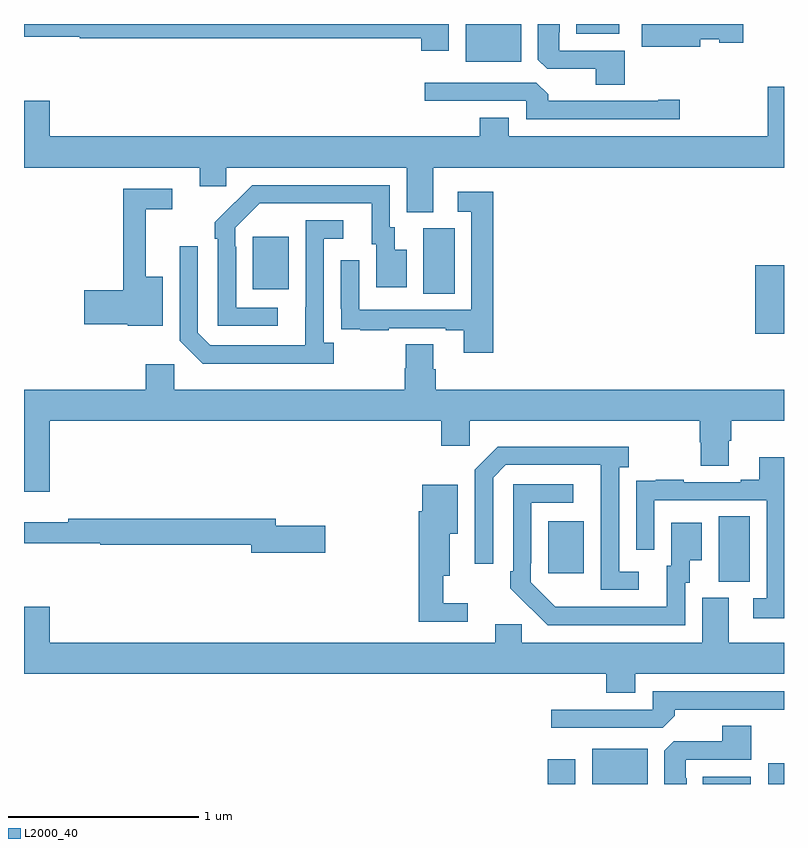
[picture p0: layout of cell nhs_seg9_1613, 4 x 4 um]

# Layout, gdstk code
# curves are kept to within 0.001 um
import gdstk
lib = gdstk.Library(unit=1e-6, precision=1e-09)
def R(c, l, rs):  # rectangles x0, y0, x1, y1
    for r in rs: c.add(gdstk.rectangle(r[:2], r[2:], *l))
def P(c, l, *ps):  # polygons
    for p in ps: c.add(gdstk.Polygon(p, *l))
L2000_40 = (2000, 40)

nhs_seg9_1613 = lib.new_cell('nhs_seg9_1613')
R(nhs_seg9_1613, L2000_40, [(203.756,1202.5,203.902,1202.629), (203.99,1202.5,204.283,1202.686), (204.572,1202.5,204.826,1202.539), (204.918,1202.5,205,1202.608), (204.656,1203.565,204.82,1203.908), (203.759,1203.609,203.947,1203.883), (204.848,1204.87,205,1205.23), (203.102,1205.08,203.266,1205.424), (202.205,1205.105,202.393,1205.38), (203.324,1206.302,203.617,1206.5), (203.906,1206.449,204.133,1206.5)])
P(nhs_seg9_1613, L2000_40, [(204.161,1206.36),(203.817,1206.36),(203.817,1206.457),(203.821,1206.457),(203.821,1206.5),(203.705,1206.5),(203.705,1206.313),(203.754,1206.264),(204.008,1206.264),(204.008,1206.181),(204.161,1206.181)],
  [(204.559,1206.419),(204.66,1206.419),(204.66,1206.401),(204.786,1206.401),(204.786,1206.5),(204.252,1206.5),(204.252,1206.38),(204.559,1206.38)],
  [(203.236,1206.5),(201,1206.5),(201,1206.432),(201.293,1206.432),(201.293,1206.424),(203.09,1206.424),(203.09,1206.36),(203.236,1206.36)],
  [(204.451,1206.101),(204.338,1206.101),(204.338,1206.096),(203.759,1206.096),(203.759,1206.13),(203.697,1206.192),(203.109,1206.192),(203.109,1206.096),(203.643,1206.096),(203.643,1206),(204.451,1206)],
  [(203.155,1205.744),(205,1205.744),(205,1206.169),(204.915,1206.169),(204.915,1205.908),(203.551,1205.908),(203.551,1206.007),(203.399,1206.007),(203.399,1205.908),(201.136,1205.908),(201.136,1206.097),(201,1206.097),(201,1205.744),(201.926,1205.744),(201.926,1205.646),(202.065,1205.646),(202.065,1205.744),(203.015,1205.744),(203.015,1205.509),(203.155,1205.509)],
  [(202.336,1205.007),(202.116,1205.007),(202.116,1205.327),(202.113,1205.327),(202.113,1205.427),(202.242,1205.556),(202.829,1205.556),(202.829,1205.34),(202.853,1205.34),(202.853,1205.115),(203.014,1205.115),(203.014,1205.311),(202.951,1205.311),(202.951,1205.43),(202.926,1205.43),(202.926,1205.652),(202.202,1205.652),(202.005,1205.457),(202.005,1205.369),(202.02,1205.369),(202.02,1204.911),(202.336,1204.911)],
  [(201.73,1205.17),(201.641,1205.17),(201.641,1205.526),(201.781,1205.526),(201.781,1205.634),(201.523,1205.634),(201.523,1205.099),(201.318,1205.099),(201.318,1204.921),(201.546,1204.921),(201.546,1204.913),(201.73,1204.913)],
  [(203.471,1205.617),(203.283,1205.617),(203.283,1205.511),(203.355,1205.511),(203.355,1204.995),(202.764,1204.995),(202.764,1205.257),(202.668,1205.257),(202.668,1205.002),(202.669,1205.002),(202.669,1204.893),(202.771,1204.893),(202.771,1204.887),(202.919,1204.887),(202.919,1204.899),(203.219,1204.899),(203.219,1204.887),(203.315,1204.887),(203.315,1204.77),(203.471,1204.77)],
  [(202.63,1204.822),(202.578,1204.822),(202.578,1205.37),(202.681,1205.37),(202.681,1205.466),(202.482,1205.466),(202.481,1204.809),(201.981,1204.809),(201.915,1204.875),(201.915,1205.329),(201.819,1205.329),(201.819,1204.833),(201.94,1204.712),(202.63,1204.712)],
  [(201.136,1204.412),(203.195,1204.412),(203.195,1204.281),(203.346,1204.281),(203.346,1204.412),(204.557,1204.412),(204.557,1204.299),(204.562,1204.299),(204.562,1204.174),(204.709,1204.174),(204.709,1204.306),(204.722,1204.306),(204.722,1204.412),(205,1204.412),(205,1204.576),(203.168,1204.576),(203.168,1204.682),(203.155,1204.682),(203.155,1204.814),(203.008,1204.814),(203.008,1204.689),(203.003,1204.689),(203.003,1204.576),(201.792,1204.576),(201.792,1204.708),(201.641,1204.708),(201.641,1204.576),(201,1204.576),(201,1204.038),(201.136,1204.038)],
  [(204.235,1203.618),(204.132,1203.618),(204.132,1204.166),(204.184,1204.166),(204.184,1204.276),(203.494,1204.276),(203.373,1204.155),(203.373,1203.66),(203.469,1203.66),(203.469,1204.113),(203.535,1204.179),(204.035,1204.179),(204.036,1203.522),(204.235,1203.522)],
  [(205,1204.219),(204.869,1204.219),(204.869,1204.102),(204.773,1204.102),(204.773,1204.089),(204.473,1204.089),(204.473,1204.102),(204.325,1204.102),(204.325,1204.095),(204.223,1204.095),(204.223,1203.986),(204.222,1203.986),(204.222,1203.732),(204.318,1203.732),(204.318,1203.993),(204.909,1203.993),(204.909,1203.477),(204.837,1203.477),(204.837,1203.372),(205,1203.372)],
  [(204.48,1203.558),(204.505,1203.558),(204.505,1203.677),(204.568,1203.677),(204.568,1203.874),(204.407,1203.874),(204.407,1203.648),(204.383,1203.648),(204.383,1203.432),(203.796,1203.433),(203.667,1203.561),(203.667,1203.661),(203.67,1203.661),(203.67,1203.981),(203.89,1203.981),(203.89,1204.077),(203.574,1204.077),(203.574,1203.619),(203.559,1203.619),(203.559,1203.531),(203.756,1203.336),(204.48,1203.336)],
  [(203.335,1203.451),(203.206,1203.451),(203.206,1203.596),(203.242,1203.596),(203.242,1203.818),(203.284,1203.818),(203.284,1204.075),(203.096,1204.075),(203.096,1203.936),(203.077,1203.936),(203.077,1203.354),(203.335,1203.354)],
  [(202.585,1203.86),(202.324,1203.86),(202.324,1203.896),(201.232,1203.896),(201.232,1203.877),(201,1203.877),(201,1203.768),(201.4,1203.768),(201.4,1203.76),(202.196,1203.76),(202.196,1203.718),(202.585,1203.718)],
  [(204.217,1203.08),(205,1203.08),(205,1203.244),(204.709,1203.244),(204.709,1203.48),(204.569,1203.48),(204.569,1203.244),(203.619,1203.244),(203.619,1203.342),(203.48,1203.342),(203.48,1203.244),(201.136,1203.244),(201.136,1203.433),(201,1203.433),(201,1203.08),(204.065,1203.08),(204.065,1202.981),(204.217,1202.981)],
  [(204.425,1202.858),(204.425,1202.892),(205,1202.892),(205,1202.988),(204.309,1202.988),(204.309,1202.892),(203.775,1202.892),(203.775,1202.796),(204.363,1202.796)],
  [(204.487,1202.531),(204.483,1202.531),(204.483,1202.628),(204.827,1202.628),(204.827,1202.807),(204.674,1202.807),(204.674,1202.724),(204.42,1202.724),(204.371,1202.675),(204.371,1202.5),(204.487,1202.5)])

lib.write_gds('nhs_seg9_1613.gds')
